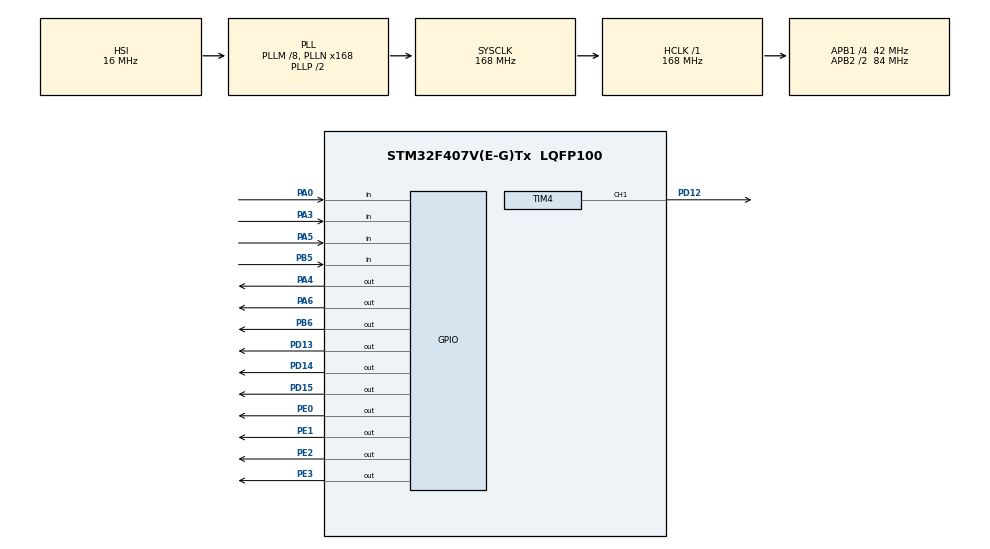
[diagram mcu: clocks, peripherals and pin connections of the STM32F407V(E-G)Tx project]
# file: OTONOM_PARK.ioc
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Mcu.Family=STM32F4
Mcu.Name=STM32F407V(E-G)Tx
Mcu.Package=LQFP100
NVIC.PriorityGroup=NVIC_PRIORITYGROUP_4
PA0-WKUP.Signal=GPIO_Input
PA3.Signal=GPIO_Input
PA4.GPIO_ModeDefaultOutputPP=GPIO_MODE_OUTPUT_PP
PA4.GPIO_PuPd=GPIO_PULLDOWN
PA4.GPIO_Speed=GPIO_SPEED_FREQ_VERY_HIGH
PA4.PinState=GPIO_PIN_RESET
PA4.Signal=GPIO_Output
PA5.Signal=GPIO_Input
PA6.GPIO_ModeDefaultOutputPP=GPIO_MODE_OUTPUT_PP
PA6.GPIO_PuPd=GPIO_PULLDOWN
PA6.GPIO_Speed=GPIO_SPEED_FREQ_VERY_HIGH
PA6.PinState=GPIO_PIN_RESET
PA6.Signal=GPIO_Output
PB5.Signal=GPIO_Input
PB6.GPIO_PuPd=GPIO_PULLDOWN
PB6.GPIO_Speed=GPIO_SPEED_FREQ_VERY_HIGH
PB6.PinState=GPIO_PIN_RESET
PB6.Signal=GPIO_Output
PD12.Signal=S_TIM4_CH1
PD13.GPIO_ModeDefaultOutputPP=GPIO_MODE_OUTPUT_PP
PD13.GPIO_PuPd=GPIO_PULLDOWN
PD13.GPIO_Speed=GPIO_SPEED_FREQ_VERY_HIGH
PD13.PinState=GPIO_PIN_RESET
PD13.Signal=GPIO_Output
PD14.GPIO_PuPd=GPIO_PULLDOWN
PD14.GPIO_Speed=GPIO_SPEED_FREQ_VERY_HIGH
PD14.PinState=GPIO_PIN_RESET
PD14.Signal=GPIO_Output
PD15.GPIO_PuPd=GPIO_PULLDOWN
PD15.GPIO_Speed=GPIO_SPEED_FREQ_VERY_HIGH
PD15.PinState=GPIO_PIN_RESET
PD15.Signal=GPIO_Output
PE0.GPIO_PuPd=GPIO_PULLDOWN
PE0.GPIO_Speed=GPIO_SPEED_FREQ_VERY_HIGH
PE0.PinState=GPIO_PIN_RESET
PE0.Signal=GPIO_Output
PE1.GPIO_PuPd=GPIO_PULLDOWN
PE1.GPIO_Speed=GPIO_SPEED_FREQ_VERY_HIGH
PE1.PinState=GPIO_PIN_RESET
PE1.Signal=GPIO_Output
PE2.GPIO_PuPd=GPIO_PULLDOWN
PE2.GPIO_Speed=GPIO_SPEED_FREQ_VERY_HIGH
PE2.Signal=GPIO_Output
PE3.GPIO_PuPd=GPIO_PULLDOWN
PE3.GPIO_Speed=GPIO_SPEED_FREQ_VERY_HIGH
PE3.PinState=GPIO_PIN_RESET
PE3.Signal=GPIO_Output
ProjectManager.HeapSize=0x200
ProjectManager.StackSize=0x400
ProjectManager.TargetToolchain=TrueSTUDIO
RCC.48MHZClocksFreq_Value=84000000
RCC.AHBFreq_Value=168000000
RCC.APB1CLKDivider=RCC_HCLK_DIV4
RCC.APB1Freq_Value=42000000
RCC.APB1TimFreq_Value=84000000
RCC.APB2CLKDivider=RCC_HCLK_DIV2
RCC.APB2Freq_Value=84000000
RCC.APB2TimFreq_Value=168000000
RCC.CortexFreq_Value=168000000
RCC.HCLKFreq_Value=168000000
RCC.HSE_VALUE=25000000
RCC.HSI_VALUE=16000000
RCC.LSE_VALUE=32768
RCC.PLLM=8
RCC.PLLN=168
RCC.SYSCLKFreq_VALUE=168000000
RCC.SYSCLKSource=RCC_SYSCLKSOURCE_PLLCLK
RCC.VCOOutputFreq_Value=336000000
SH.S_TIM4_CH1.0=TIM4_CH1,PWM Generation1 CH1
TIM4.Channel-PWM\ Generation1\ CH1=TIM_CHANNEL_1
TIM4.Period=19999
TIM4.Prescaler=83
board=custom

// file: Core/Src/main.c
/* USER CODE BEGIN Header */
/**
  ******************************************************************************
  * @file           : main.c
  * @brief          : Main program body
  ******************************************************************************
  * @attention
  *
  * <h2><center>&copy; Copyright (c) 2022 STMicroelectronics.
  * All rights reserved.</center></h2>
  *
  * This software component is licensed by ST under BSD 3-Clause license,
  * the "License"; You may not use this file except in compliance with the
  * License. You may obtain a copy of the License at:
  *                        opensource.org/licenses/BSD-3-Clause
  *
  ******************************************************************************
  */
/* USER CODE END Header */
#include "main.h"

/* USER CODE BEGIN Includes */
#include "dwt_stm32_delay.h"
/* USER CODE END Includes */

TIM_HandleTypeDef htim4;

/* USER CODE BEGIN PV */
uint32_t time_1;
uint16_t distance_1;
uint32_t time_2;
uint16_t distance_2;
uint32_t time_3;
uint16_t distance_3;
int count = 0;
int yer = 0;
/* USER CODE END PV */

void SystemClock_Config(void);
static void MX_GPIO_Init(void);
static void MX_TIM4_Init(void);

/* USER CODE BEGIN 0 */

uint32_t Read_HCSR04() // sureyi tutacagiz
{
	uint32_t local_time = 0; //echodaki sureyi tutacagiz

	HAL_GPIO_WritePin(GPIOA, GPIO_PIN_4, GPIO_PIN_SET); // pini tetikledik
	DWT_Delay_us(10); // 10mikro saniye tetiklememiz lazimdi 10msaniye delay yaptik
	HAL_GPIO_WritePin(GPIOA, GPIO_PIN_4, GPIO_PIN_RESET);// pini kapattik

	while(!HAL_GPIO_ReadPin(GPIOA, GPIO_PIN_3)); // A portunun 2.pinin okur deger gelince donguden cikar

	while(HAL_GPIO_ReadPin(GPIOA, GPIO_PIN_3)) // echodan deger gelince girer
	{
		local_time++;
		DWT_Delay_us(1); // 1 mikro saniye bekle
		// her mikro saniyede local time artar
	}

	return local_time;
}

uint32_t Read_HCSR04_2() // sureyi tutacagiz
{
	uint32_t local_time = 0; //echodaki sureyi tutacagiz

	HAL_GPIO_WritePin(GPIOA, GPIO_PIN_6, GPIO_PIN_SET); // pini tetikledik
	DWT_Delay_us(10); // 10mikro saniye tetiklememiz lazimdi 10msaniye delay yaptik
	HAL_GPIO_WritePin(GPIOA, GPIO_PIN_6, GPIO_PIN_RESET);// pini kapattik

	while(!HAL_GPIO_ReadPin(GPIOA, GPIO_PIN_5)); // A portunun 2.pinin okur deger gelince donguden cikar

	while(HAL_GPIO_ReadPin(GPIOA, GPIO_PIN_5)) // echodan deger gelince girer
	{
		local_time++;
		DWT_Delay_us(1); // 1 mikro saniye bekle
		// her mikro saniyede local time artar
	}

	return local_time;
}

uint32_t Read_HCSR04_3() // sureyi tutacagiz
{
	uint32_t local_time = 0; //echodaki sureyi tutacagiz

	HAL_GPIO_WritePin(GPIOB, GPIO_PIN_6, GPIO_PIN_SET); // pini tetikledik
	DWT_Delay_us(10); // 10mikro saniye tetiklememiz lazimdi 10msaniye delay yaptik
	HAL_GPIO_WritePin(GPIOB, GPIO_PIN_6, GPIO_PIN_RESET);// pini kapattik

	while(!HAL_GPIO_ReadPin(GPIOB, GPIO_PIN_5)); // A portunun 2.pinin okur deger gelince donguden cikar

	while(HAL_GPIO_ReadPin(GPIOB, GPIO_PIN_5)) // echodan deger gelince girer
	{
		local_time++;
		DWT_Delay_us(1); // 1 mikro saniye bekle
		// her mikro saniyede local time artar
	}

	return local_time;
}

void Teker_geri()
{
	  HAL_GPIO_WritePin(GPIOE, GPIO_PIN_0,GPIO_PIN_SET);
	  HAL_GPIO_WritePin(GPIOE, GPIO_PIN_1, GPIO_PIN_RESET); // 1. tekerlegi ileri yonde dondur
	  HAL_GPIO_WritePin(GPIOE, GPIO_PIN_2, GPIO_PIN_RESET);
	  HAL_GPIO_WritePin(GPIOE, GPIO_PIN_3,GPIO_PIN_SET);// 2. tekerlegi ileri yonde dondur
}

void Teker_ileri()
{
	  HAL_GPIO_WritePin(GPIOE, GPIO_PIN_0,GPIO_PIN_RESET);
	  HAL_GPIO_WritePin(GPIOE, GPIO_PIN_1, GPIO_PIN_SET); // 1. tekerlegi geri yonde dondur
	  HAL_GPIO_WritePin(GPIOE, GPIO_PIN_2,GPIO_PIN_SET);
	  HAL_GPIO_WritePin(GPIOE, GPIO_PIN_3, GPIO_PIN_RESET); // 2. tekerlegi geri yonde dondur
}

void Teker_dur()
{
	  	  HAL_GPIO_WritePin(GPIOE, GPIO_PIN_0,GPIO_PIN_RESET);
	  	  HAL_GPIO_WritePin(GPIOE, GPIO_PIN_1,GPIO_PIN_RESET); // 1.tekerlegi durdur
	  	  HAL_GPIO_WritePin(GPIOE, GPIO_PIN_2,GPIO_PIN_RESET);
	  	  HAL_GPIO_WritePin(GPIOE, GPIO_PIN_3, GPIO_PIN_RESET); // 2. tekerlegi durdur
}
/* USER CODE END 0 */

int main(void)
{

  /* MCU Configuration--------------------------------------------------------*/

  /* Reset of all peripherals, Initializes the Flash interface and the Systick. */
  HAL_Init();

  /* Configure the system clock */
  SystemClock_Config();

  /* Initialize all configured peripherals */
  MX_GPIO_Init();
  MX_TIM4_Init();
  /* USER CODE BEGIN 2 */
  DWT_Delay_Init();
  HAL_TIM_PWM_Start(&htim4, TIM_CHANNEL_1);
  /* USER CODE END 2 */
	TIM4->CCR1=1040;
	HAL_Delay(1000);
  /* Infinite loop */
  while (1)
  {

    /* USER CODE BEGIN 3 */

	  time_1 = Read_HCSR04();
	  distance_1 = time_1 / 58 ;// zamani 58 e bolerek cm cinsinden uzakligi bulduk HCSR04 formulu

	  time_2 = Read_HCSR04_2();
	  distance_2 = time_2 / 58;

	  time_3 = Read_HCSR04_3();
	  distance_3 = time_3 / 58 ;

	  HAL_GPIO_WritePin(GPIOD, GPIO_PIN_13 , GPIO_PIN_SET);

	  if(HAL_GPIO_ReadPin(GPIOA, GPIO_PIN_0))
	  	  {
	  		  while(HAL_GPIO_ReadPin(GPIOA, GPIO_PIN_0));
	  		  HAL_Delay(100);

	  		  count++;
	  	  }

	  if(count%2 == 1)
	  	  {
		  	  HAL_GPIO_WritePin(GPIOE, GPIO_PIN_0, GPIO_PIN_RESET);
		  	  HAL_GPIO_WritePin(GPIOE, GPIO_PIN_1, GPIO_PIN_SET); // 1. tekerlegi ileri yonde dondur
		  	  HAL_GPIO_WritePin(GPIOE, GPIO_PIN_2, GPIO_PIN_SET);
		  	  HAL_GPIO_WritePin(GPIOE, GPIO_PIN_3, GPIO_PIN_RESET); // 2. tekerlegi ileri yonde dondur

		  	  HAL_GPIO_WritePin(GPIOD, GPIO_PIN_14 , GPIO_PIN_SET);
		  	  if(distance_1 < 5)
		  	  {
		  		  Teker_dur();
		  		  while(1)
		  		  {

		  		  }
		  	  }
		  	  if(distance_2 > 15)
		  	  {
		  		  HAL_Delay(210);
		  		  yer++;

		  		  if(yer > 5)
		  		  {
		  			  HAL_Delay(100);
		  			  Teker_dur();
		  			  HAL_GPIO_WritePin(GPIOD, GPIO_PIN_15 , GPIO_PIN_SET);
			   	  	  HAL_Delay(100);
			  		  TIM4->CCR1=1550; //1700=180 derece
			  		  HAL_Delay(200);
			  		  time_3 = Read_HCSR04_3();
			  		  distance_3 = time_3 / 58 ;
			  		  while(distance_3 > 13 )
			  		 {
			  			  time_3 = Read_HCSR04_3();
			   			  distance_3 = time_3 / 58 ;
			  	  		  Teker_geri();
			  		 }
			    	  Teker_dur();
			   	  	  HAL_Delay(200);
			  		  TIM4->CCR1=1100; //1100=90 derece
			  		  HAL_Delay(200);
			  		  time_3 = Read_HCSR04_3();
			  		  distance_3 = time_3 / 58 ;
			  		  while(distance_3 > 7 )
			  		  {
			  			  time_3 = Read_HCSR04_3();
			  			  distance_3 = time_3 / 58 ;
			  			  Teker_geri();
			  		  }
			  		  Teker_dur();
			  		  HAL_Delay(200);
			  		  while(1)
			  		  {
			  			  if(distance_3 > 2)
			  			  {
			  				TIM4->CCR1=760; //600 = 0 derece
			  				HAL_Delay(200);
			  				Teker_geri();
			  				break;
			  			  }
			  		  }
			  		  Teker_dur();
			  		  HAL_Delay(200);
			  		  time_2 = Read_HCSR04_2();
			  		  distance_2 = time_2 / 58;
			  		  while(distance_2 < 3)
			  		  {
				  		  time_2 = Read_HCSR04_2();
				  		  distance_2 = time_2 / 58;
				  		  TIM4->CCR1=1350; //1700=180 derece
				  		  HAL_Delay(200);
				  		  Teker_ileri();
			  		  }
			  		  Teker_dur();
			  		  HAL_Delay(200);
			  		  time_3 = Read_HCSR04_3();
			  		  distance_3 = time_3 / 58 ;
			  		  while(distance_3 < 7)
			  		  {
				  		  time_3 = Read_HCSR04_3();
				  		  distance_3 = time_3 / 58 ;
				  		  TIM4->CCR1=760; //600 = 0 derece
				  		  Teker_geri();
			  		  }
			  		  Teker_dur();
			  		  HAL_Delay(200);
			  		  TIM4->CCR1=1100; //1100=90 derece
			  		  HAL_Delay(200);
			  		  time_3 = Read_HCSR04_3();
			  		  distance_3 = time_3 / 58 ;
			  		  while(distance_3 > 7 )
			  		  {
			  			  time_3 = Read_HCSR04_3();
			  			  distance_3 = time_3 / 58 ;
			  			  Teker_geri();
			  		  }
			  		  Teker_dur();
			  		  while(1)
			  		  {
			  			  HAL_GPIO_WritePin(GPIOD, GPIO_PIN_15 , GPIO_PIN_SET);
			  		  }

		  		  }
		  	  }

	  	  }
  /* USER CODE END 3 */
  }
}

void SystemClock_Config(void)
{
  RCC_OscInitTypeDef RCC_OscInitStruct = {0};
  RCC_ClkInitTypeDef RCC_ClkInitStruct = {0};

  /** Configure the main internal regulator output voltage
  */
  __HAL_RCC_PWR_CLK_ENABLE();
  __HAL_PWR_VOLTAGESCALING_CONFIG(PWR_REGULATOR_VOLTAGE_SCALE1);
  /** Initializes the RCC Oscillators according to the specified parameters
  * in the RCC_OscInitTypeDef structure.
  */
  RCC_OscInitStruct.OscillatorType = RCC_OSCILLATORTYPE_HSI;
  RCC_OscInitStruct.HSIState = RCC_HSI_ON;
  RCC_OscInitStruct.HSICalibrationValue = RCC_HSICALIBRATION_DEFAULT;
  RCC_OscInitStruct.PLL.PLLState = RCC_PLL_ON;
  RCC_OscInitStruct.PLL.PLLSource = RCC_PLLSOURCE_HSI;
  RCC_OscInitStruct.PLL.PLLM = 8;
  RCC_OscInitStruct.PLL.PLLN = 168;
  RCC_OscInitStruct.PLL.PLLP = RCC_PLLP_DIV2;
  RCC_OscInitStruct.PLL.PLLQ = 4;
  if (HAL_RCC_OscConfig(&RCC_OscInitStruct) != HAL_OK)
  {
    Error_Handler();
  }
  /** Initializes the CPU, AHB and APB buses clocks
  */
  RCC_ClkInitStruct.ClockType = RCC_CLOCKTYPE_HCLK|RCC_CLOCKTYPE_SYSCLK
                              |RCC_CLOCKTYPE_PCLK1|RCC_CLOCKTYPE_PCLK2;
  RCC_ClkInitStruct.SYSCLKSource = RCC_SYSCLKSOURCE_PLLCLK;
  RCC_ClkInitStruct.AHBCLKDivider = RCC_SYSCLK_DIV1;
  RCC_ClkInitStruct.APB1CLKDivider = RCC_HCLK_DIV4;
  RCC_ClkInitStruct.APB2CLKDivider = RCC_HCLK_DIV2;

  if (HAL_RCC_ClockConfig(&RCC_ClkInitStruct, FLASH_LATENCY_5) != HAL_OK)
  {
    Error_Handler();
  }
}

static void MX_TIM4_Init(void)
{

  TIM_MasterConfigTypeDef sMasterConfig = {0};
  TIM_OC_InitTypeDef sConfigOC = {0};

  htim4.Instance = TIM4;
  htim4.Init.Prescaler = 83;
  htim4.Init.CounterMode = TIM_COUNTERMODE_UP;
  htim4.Init.Period = 19999;
  htim4.Init.ClockDivision = TIM_CLOCKDIVISION_DIV1;
  htim4.Init.AutoReloadPreload = TIM_AUTORELOAD_PRELOAD_DISABLE;
  if (HAL_TIM_PWM_Init(&htim4) != HAL_OK)
  {
    Error_Handler();
  }
  sMasterConfig.MasterOutputTrigger = TIM_TRGO_RESET;
  sMasterConfig.MasterSlaveMode = TIM_MASTERSLAVEMODE_DISABLE;
  if (HAL_TIMEx_MasterConfigSynchronization(&htim4, &sMasterConfig) != HAL_OK)
  {
    Error_Handler();
  }
  sConfigOC.OCMode = TIM_OCMODE_PWM1;
  sConfigOC.Pulse = 0;
  sConfigOC.OCPolarity = TIM_OCPOLARITY_HIGH;
  sConfigOC.OCFastMode = TIM_OCFAST_DISABLE;
  if (HAL_TIM_PWM_ConfigChannel(&htim4, &sConfigOC, TIM_CHANNEL_1) != HAL_OK)
  {
    Error_Handler();
  }
  HAL_TIM_MspPostInit(&htim4);

}

static void MX_GPIO_Init(void)
{
  GPIO_InitTypeDef GPIO_InitStruct = {0};

  /* GPIO Ports Clock Enable */
  __HAL_RCC_GPIOE_CLK_ENABLE();
  __HAL_RCC_GPIOA_CLK_ENABLE();
  __HAL_RCC_GPIOD_CLK_ENABLE();
  __HAL_RCC_GPIOB_CLK_ENABLE();

  /*Configure GPIO pin Output Level */
  HAL_GPIO_WritePin(GPIOE, GPIO_PIN_2|GPIO_PIN_3|GPIO_PIN_0|GPIO_PIN_1, GPIO_PIN_RESET);

  /*Configure GPIO pin Output Level */
  HAL_GPIO_WritePin(GPIOA, GPIO_PIN_4|GPIO_PIN_6, GPIO_PIN_RESET);

  /*Configure GPIO pin Output Level */
  HAL_GPIO_WritePin(GPIOD, GPIO_PIN_13|GPIO_PIN_14|GPIO_PIN_15, GPIO_PIN_RESET);

  /*Configure GPIO pin Output Level */
  HAL_GPIO_WritePin(GPIOB, GPIO_PIN_6, GPIO_PIN_RESET);

  /*Configure GPIO pins : PE2 PE3 PE0 PE1 */
  GPIO_InitStruct.Pin = GPIO_PIN_2|GPIO_PIN_3|GPIO_PIN_0|GPIO_PIN_1;
  GPIO_InitStruct.Mode = GPIO_MODE_OUTPUT_PP;
  GPIO_InitStruct.Pull = GPIO_PULLDOWN;
  GPIO_InitStruct.Speed = GPIO_SPEED_FREQ_VERY_HIGH;
  HAL_GPIO_Init(GPIOE, &GPIO_InitStruct);

  /*Configure GPIO pins : PA0 PA3 PA5 */
  GPIO_InitStruct.Pin = GPIO_PIN_0|GPIO_PIN_3|GPIO_PIN_5;
  GPIO_InitStruct.Mode = GPIO_MODE_INPUT;
  GPIO_InitStruct.Pull = GPIO_NOPULL;
  HAL_GPIO_Init(GPIOA, &GPIO_InitStruct);

  /*Configure GPIO pins : PA4 PA6 */
  GPIO_InitStruct.Pin = GPIO_PIN_4|GPIO_PIN_6;
  GPIO_InitStruct.Mode = GPIO_MODE_OUTPUT_PP;
  GPIO_InitStruct.Pull = GPIO_PULLDOWN;
  GPIO_InitStruct.Speed = GPIO_SPEED_FREQ_VERY_HIGH;
  HAL_GPIO_Init(GPIOA, &GPIO_InitStruct);

  /*Configure GPIO pins : PD13 PD14 PD15 */
  GPIO_InitStruct.Pin = GPIO_PIN_13|GPIO_PIN_14|GPIO_PIN_15;
  GPIO_InitStruct.Mode = GPIO_MODE_OUTPUT_PP;
  GPIO_InitStruct.Pull = GPIO_PULLDOWN;
  GPIO_InitStruct.Speed = GPIO_SPEED_FREQ_VERY_HIGH;
  HAL_GPIO_Init(GPIOD, &GPIO_InitStruct);

  /*Configure GPIO pin : PB5 */
  GPIO_InitStruct.Pin = GPIO_PIN_5;
  GPIO_InitStruct.Mode = GPIO_MODE_INPUT;
  GPIO_InitStruct.Pull = GPIO_NOPULL;
  HAL_GPIO_Init(GPIOB, &GPIO_InitStruct);

  /*Configure GPIO pin : PB6 */
  GPIO_InitStruct.Pin = GPIO_PIN_6;
  GPIO_InitStruct.Mode = GPIO_MODE_OUTPUT_PP;
  GPIO_InitStruct.Pull = GPIO_PULLDOWN;
  GPIO_InitStruct.Speed = GPIO_SPEED_FREQ_VERY_HIGH;
  HAL_GPIO_Init(GPIOB, &GPIO_InitStruct);

}

void Error_Handler(void)
{
}

/************************ (C) COPYRIGHT STMicroelectronics *****END OF FILE****/
